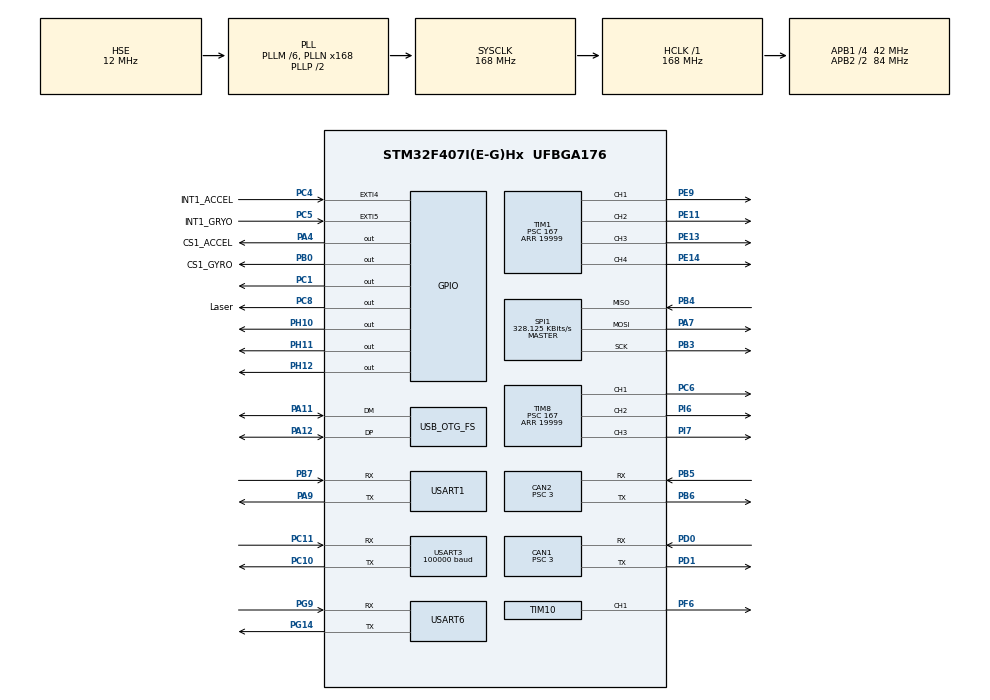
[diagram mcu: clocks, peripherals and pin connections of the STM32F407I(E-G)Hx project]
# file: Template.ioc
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CAN1.BS1=CAN_BS1_10TQ
CAN1.BS2=CAN_BS2_3TQ
CAN1.CalculateBaudRate=1000000
CAN1.CalculateTimeBit=1000
CAN1.CalculateTimeQuantum=71.42857142857143
CAN1.Prescaler=3
CAN2.BS1=CAN_BS1_10TQ
CAN2.BS2=CAN_BS2_3TQ
CAN2.CalculateBaudRate=1000000
CAN2.CalculateTimeBit=1000
CAN2.CalculateTimeQuantum=71.42857142857143
CAN2.Prescaler=3
Dma.Request0=SPI1_RX
Dma.Request1=SPI1_TX
Dma.Request2=USART6_RX
Dma.Request3=USART6_TX
Dma.Request4=USART3_RX
Dma.Request5=USART1_TX
Dma.Request6=USART1_RX
Dma.SPI1_RX.0.Direction=DMA_PERIPH_TO_MEMORY
Dma.SPI1_RX.0.FIFOMode=DMA_FIFOMODE_DISABLE
Dma.SPI1_RX.0.Instance=DMA2_Stream0
Dma.SPI1_RX.0.MemDataAlignment=DMA_MDATAALIGN_BYTE
Dma.SPI1_RX.0.MemInc=DMA_MINC_ENABLE
Dma.SPI1_RX.0.Mode=DMA_NORMAL
Dma.SPI1_RX.0.PeriphDataAlignment=DMA_PDATAALIGN_BYTE
Dma.SPI1_RX.0.PeriphInc=DMA_PINC_DISABLE
Dma.SPI1_RX.0.Priority=DMA_PRIORITY_VERY_HIGH
Dma.SPI1_TX.1.Direction=DMA_MEMORY_TO_PERIPH
Dma.SPI1_TX.1.FIFOMode=DMA_FIFOMODE_DISABLE
Dma.SPI1_TX.1.Instance=DMA2_Stream3
Dma.SPI1_TX.1.MemDataAlignment=DMA_MDATAALIGN_BYTE
Dma.SPI1_TX.1.MemInc=DMA_MINC_ENABLE
Dma.SPI1_TX.1.Mode=DMA_NORMAL
Dma.SPI1_TX.1.PeriphDataAlignment=DMA_PDATAALIGN_BYTE
Dma.SPI1_TX.1.PeriphInc=DMA_PINC_DISABLE
Dma.SPI1_TX.1.Priority=DMA_PRIORITY_HIGH
Dma.USART1_RX.6.Direction=DMA_PERIPH_TO_MEMORY
Dma.USART1_RX.6.FIFOMode=DMA_FIFOMODE_DISABLE
Dma.USART1_RX.6.Instance=DMA2_Stream2
Dma.USART1_RX.6.MemDataAlignment=DMA_MDATAALIGN_BYTE
Dma.USART1_RX.6.MemInc=DMA_MINC_ENABLE
Dma.USART1_RX.6.Mode=DMA_NORMAL
Dma.USART1_RX.6.PeriphDataAlignment=DMA_PDATAALIGN_BYTE
Dma.USART1_RX.6.PeriphInc=DMA_PINC_DISABLE
Dma.USART1_RX.6.Priority=DMA_PRIORITY_HIGH
Dma.USART1_TX.5.Direction=DMA_MEMORY_TO_PERIPH
Dma.USART1_TX.5.FIFOMode=DMA_FIFOMODE_DISABLE
Dma.USART1_TX.5.Instance=DMA2_Stream7
Dma.USART1_TX.5.MemDataAlignment=DMA_MDATAALIGN_BYTE
Dma.USART1_TX.5.MemInc=DMA_MINC_ENABLE
Dma.USART1_TX.5.Mode=DMA_NORMAL
Dma.USART1_TX.5.PeriphDataAlignment=DMA_PDATAALIGN_BYTE
Dma.USART1_TX.5.PeriphInc=DMA_PINC_DISABLE
Dma.USART1_TX.5.Priority=DMA_PRIORITY_HIGH
Dma.USART3_RX.4.Direction=DMA_PERIPH_TO_MEMORY
Dma.USART3_RX.4.FIFOMode=DMA_FIFOMODE_DISABLE
Dma.USART3_RX.4.Instance=DMA1_Stream1
Dma.USART3_RX.4.MemDataAlignment=DMA_MDATAALIGN_BYTE
Dma.USART3_RX.4.MemInc=DMA_MINC_ENABLE
Dma.USART3_RX.4.Mode=DMA_NORMAL
Dma.USART3_RX.4.PeriphDataAlignment=DMA_PDATAALIGN_BYTE
Dma.USART3_RX.4.PeriphInc=DMA_PINC_DISABLE
Dma.USART3_RX.4.Priority=DMA_PRIORITY_HIGH
Dma.USART6_RX.2.Direction=DMA_PERIPH_TO_MEMORY
Dma.USART6_RX.2.FIFOMode=DMA_FIFOMODE_DISABLE
Dma.USART6_RX.2.Instance=DMA2_Stream1
Dma.USART6_RX.2.MemDataAlignment=DMA_MDATAALIGN_BYTE
Dma.USART6_RX.2.MemInc=DMA_MINC_ENABLE
Dma.USART6_RX.2.Mode=DMA_NORMAL
Dma.USART6_RX.2.PeriphDataAlignment=DMA_PDATAALIGN_BYTE
Dma.USART6_RX.2.PeriphInc=DMA_PINC_DISABLE
Dma.USART6_RX.2.Priority=DMA_PRIORITY_HIGH
Dma.USART6_TX.3.Direction=DMA_MEMORY_TO_PERIPH
Dma.USART6_TX.3.FIFOMode=DMA_FIFOMODE_DISABLE
Dma.USART6_TX.3.Instance=DMA2_Stream6
Dma.USART6_TX.3.MemDataAlignment=DMA_MDATAALIGN_BYTE
Dma.USART6_TX.3.MemInc=DMA_MINC_ENABLE
Dma.USART6_TX.3.Mode=DMA_NORMAL
Dma.USART6_TX.3.PeriphDataAlignment=DMA_PDATAALIGN_BYTE
Dma.USART6_TX.3.PeriphInc=DMA_PINC_DISABLE
Dma.USART6_TX.3.Priority=DMA_PRIORITY_HIGH
FREERTOS.Tasks01=defaultTask,0,128,StartDefaultTask,Default,NULL,Dynamic,NULL,NULL
Mcu.Family=STM32F4
Mcu.Name=STM32F407I(E-G)Hx
Mcu.Package=UFBGA176
NVIC.CAN1_RX0_IRQn=true\:5\:0\:false\:false\:true\:true\:true\:true\:true
NVIC.CAN2_RX0_IRQn=true\:5\:0\:false\:false\:true\:true\:true\:true\:true
NVIC.DMA1_Stream1_IRQn=true\:5\:0\:false\:false\:true\:true\:false\:true\:true
NVIC.DMA2_Stream0_IRQn=true\:5\:0\:false\:false\:false\:true\:false\:true\:true
NVIC.DMA2_Stream1_IRQn=true\:5\:0\:false\:false\:true\:true\:false\:true\:true
NVIC.DMA2_Stream2_IRQn=true\:5\:0\:false\:false\:true\:true\:false\:true\:true
NVIC.DMA2_Stream3_IRQn=true\:5\:0\:false\:false\:true\:true\:false\:true\:true
NVIC.DMA2_Stream6_IRQn=true\:5\:0\:false\:false\:true\:true\:false\:true\:true
NVIC.DMA2_Stream7_IRQn=true\:5\:0\:false\:false\:true\:true\:false\:true\:true
NVIC.EXTI4_IRQn=true\:5\:0\:false\:false\:true\:true\:true\:true\:true
NVIC.EXTI9_5_IRQn=true\:5\:0\:false\:false\:true\:true\:true\:true\:true
NVIC.OTG_FS_IRQn=true\:5\:0\:false\:false\:true\:true\:false\:true\:true
NVIC.PriorityGroup=NVIC_PRIORITYGROUP_4
NVIC.TIM2_IRQn=true\:5\:0\:false\:false\:true\:true\:true\:true\:true
NVIC.TIM3_IRQn=true\:5\:0\:false\:false\:false\:true\:true\:true\:true
NVIC.TIM4_IRQn=true\:5\:0\:false\:false\:false\:true\:true\:true\:true
NVIC.TIM5_IRQn=true\:5\:0\:false\:false\:false\:true\:true\:true\:true
NVIC.TIM6_DAC_IRQn=true\:5\:0\:false\:false\:false\:true\:true\:true\:true
NVIC.TIM7_IRQn=true\:15\:0\:false\:false\:true\:false\:false\:true\:true
NVIC.TimeBase=TIM7_IRQn
NVIC.TimeBaseIP=TIM7
NVIC.USART1_IRQn=true\:5\:0\:false\:false\:false\:true\:true\:true\:true
NVIC.USART3_IRQn=true\:5\:0\:false\:false\:false\:true\:true\:true\:true
NVIC.USART6_IRQn=true\:5\:0\:false\:false\:false\:true\:true\:true\:true
PA11.Mode=Device_Only
PA11.Signal=USB_OTG_FS_DM
PA12.Mode=Device_Only
PA12.Signal=USB_OTG_FS_DP
PA13.Mode=Serial_Wire
PA13.Signal=SYS_JTMS-SWDIO
PA14.Mode=Serial_Wire
PA14.Signal=SYS_JTCK-SWCLK
PA4.GPIO_Label=CS1_ACCEL
PA4.Signal=GPIO_Output
PA7.Mode=Full_Duplex_Master
PA7.Signal=SPI1_MOSI
PA9.Mode=Asynchronous
PA9.Signal=USART1_TX
PB0.GPIO_Label=CS1_GYRO
PB0.Signal=GPIO_Output
PB3.Mode=Full_Duplex_Master
PB3.Signal=SPI1_SCK
PB4.Mode=Full_Duplex_Master
PB4.Signal=SPI1_MISO
PB5.Mode=CAN_Activate
PB5.Signal=CAN2_RX
PB6.Mode=CAN_Activate
PB6.Signal=CAN2_TX
PB7.Mode=Asynchronous
PB7.Signal=USART1_RX
PC1.GPIO_PuPd=GPIO_PULLDOWN
PC1.Signal=GPIO_Output
PC10.Mode=Asynchronous
PC10.Signal=USART3_TX
PC11.Mode=Asynchronous
PC11.Signal=USART3_RX
PC4.GPIO_Label=INT1_ACCEL
PC4.Signal=GPXTI4
PC5.GPIO_Label=INT1_GRYO
PC5.Signal=GPXTI5
PC6.Signal=S_TIM8_CH1
PC8.GPIO_Label=Laser
PC8.Signal=GPIO_Output
PD0.Mode=CAN_Activate
PD0.Signal=CAN1_RX
PD1.Mode=CAN_Activate
PD1.Signal=CAN1_TX
PE11.Signal=S_TIM1_CH2
PE13.Signal=S_TIM1_CH3
PE14.Signal=S_TIM1_CH4
PE9.Signal=S_TIM1_CH1
PF6.Signal=S_TIM10_CH1
PG14.Mode=Asynchronous
PG14.Signal=USART6_TX
PG9.Mode=Asynchronous
PG9.Signal=USART6_RX
PH0-OSC_IN.Mode=HSE-External-Oscillator
PH0-OSC_IN.Signal=RCC_OSC_IN
PH1-OSC_OUT.Mode=HSE-External-Oscillator
PH1-OSC_OUT.Signal=RCC_OSC_OUT
PH10.Signal=GPIO_Output
PH11.Signal=GPIO_Output
PH12.Signal=GPIO_Output
PI6.Signal=S_TIM8_CH2
PI7.Signal=S_TIM8_CH3
ProjectManager.HeapSize=0x2000
ProjectManager.StackSize=0x2000
ProjectManager.TargetToolchain=MDK-ARM V5.32
RCC.48MHZClocksFreq_Value=48000000
RCC.AHBFreq_Value=168000000
RCC.APB1CLKDivider=RCC_HCLK_DIV4
RCC.APB1Freq_Value=42000000
RCC.APB1TimFreq_Value=84000000
RCC.APB2CLKDivider=RCC_HCLK_DIV2
RCC.APB2Freq_Value=84000000
RCC.APB2TimFreq_Value=168000000
RCC.CortexFreq_Value=168000000
RCC.HCLKFreq_Value=168000000
RCC.HSE_VALUE=12000000
RCC.HSI_VALUE=16000000
RCC.LSE_VALUE=32768
RCC.PLLM=6
RCC.PLLN=168
RCC.PLLQ=7
RCC.SYSCLKFreq_VALUE=168000000
RCC.SYSCLKSource=RCC_SYSCLKSOURCE_PLLCLK
RCC.VCOOutputFreq_Value=336000000
SH.S_TIM10_CH1.0=TIM10_CH1,PWM Generation1 CH1
SH.S_TIM1_CH1.0=TIM1_CH1,PWM Generation1 CH1
SH.S_TIM1_CH2.0=TIM1_CH2,PWM Generation2 CH2
SH.S_TIM1_CH3.0=TIM1_CH3,PWM Generation3 CH3
SH.S_TIM1_CH4.0=TIM1_CH4,PWM Generation4 CH4
SH.S_TIM8_CH1.0=TIM8_CH1,PWM Generation1 CH1
SH.S_TIM8_CH2.0=TIM8_CH2,PWM Generation2 CH2
SH.S_TIM8_CH3.0=TIM8_CH3,PWM Generation3 CH3
SPI1.BaudRatePrescaler=SPI_BAUDRATEPRESCALER_256
SPI1.CLKPhase=SPI_PHASE_2EDGE
SPI1.CLKPolarity=SPI_POLARITY_HIGH
SPI1.CalculateBaudRate=328.125 KBits/s
SPI1.Direction=SPI_DIRECTION_2LINES
SPI1.Mode=SPI_MODE_MASTER
SPI1.VirtualType=VM_MASTER
TIM1.Channel-PWM\ Generation1\ CH1=TIM_CHANNEL_1
TIM1.Channel-PWM\ Generation2\ CH2=TIM_CHANNEL_2
TIM1.Channel-PWM\ Generation3\ CH3=TIM_CHANNEL_3
TIM1.Channel-PWM\ Generation4\ CH4=TIM_CHANNEL_4
TIM1.Period=19999
TIM1.Prescaler=167
TIM1.Pulse-PWM\ Generation1\ CH1=1000
TIM1.Pulse-PWM\ Generation2\ CH2=1000
TIM1.Pulse-PWM\ Generation3\ CH3=1000
TIM1.Pulse-PWM\ Generation4\ CH4=1000
TIM10.Channel=TIM_CHANNEL_1
TIM10.Period=4999
TIM2.Period=200-1
TIM2.Prescaler=84-1
TIM3.Period=999
TIM3.Prescaler=83
TIM4.Period=1999
TIM4.Prescaler=83
TIM5.Period=999
TIM5.Prescaler=83
TIM6.Period=9999
TIM6.Prescaler=83
TIM8.Channel-PWM\ Generation1\ CH1=TIM_CHANNEL_1
TIM8.Channel-PWM\ Generation2\ CH2=TIM_CHANNEL_2
TIM8.Channel-PWM\ Generation3\ CH3=TIM_CHANNEL_3
TIM8.Period=19999
TIM8.Prescaler=167
TIM8.Pulse-PWM\ Generation1\ CH1=1000
TIM8.Pulse-PWM\ Generation2\ CH2=1000
TIM8.Pulse-PWM\ Generation3\ CH3=1000
USART1.VirtualMode=VM_ASYNC
USART3.BaudRate=100000
USART3.Parity=PARITY_EVEN
USART3.VirtualMode=VM_ASYNC
USART6.VirtualMode=VM_ASYNC
USB_DEVICE.CLASS_NAME_FS=CDC
USB_DEVICE.VirtualMode-CDC_FS=Cdc
USB_DEVICE.VirtualModeFS=Cdc_FS
USB_OTG_FS.VirtualMode=Device_Only
VP_FREERTOS_VS_CMSIS_V1.Mode=CMSIS_V1
VP_SYS_VS_tim7.Mode=TIM7
VP_TIM10_VS_ClockSourceINT.Mode=Enable_Timer
VP_TIM1_VS_ClockSourceINT.Mode=Internal
VP_TIM2_VS_ClockSourceINT.Mode=Internal
VP_TIM3_VS_ClockSourceINT.Mode=Internal
VP_TIM4_VS_ClockSourceINT.Mode=Internal
VP_TIM5_VS_ClockSourceINT.Mode=Internal
VP_TIM6_VS_ClockSourceINT.Mode=Enable_Timer
VP_TIM8_VS_ClockSourceINT.Mode=Internal
VP_USB_DEVICE_VS_USB_DEVICE_CDC_FS.Mode=CDC_FS
board=custom

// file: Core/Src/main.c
/* USER CODE BEGIN Header */
/**
  ******************************************************************************
  * @file           : main.c
  * @brief          : Main program body
  ******************************************************************************
  * @attention
  *
  * Copyright (c) 2021 STMicroelectronics.
  * All rights reserved.
  *
  * This software is licensed under terms that can be found in the LICENSE file
  * in the root directory of this software component.
  * If no LICENSE file comes with this software, it is provided AS-IS.
  *
  ******************************************************************************
  */
/* USER CODE END Header */
#include "main.h"
#include "cmsis_os.h"
#include "can.h"
#include "dma.h"
#include "spi.h"
#include "tim.h"
#include "usart.h"
#include "usb_device.h"
#include "gpio.h"

/* USER CODE BEGIN Includes */
#include "bsp_delay.h"
#include "bsp_can.h"
#include "bsp_usart.h"
#include "bsp_rc.h"
#include "Remote.h"
/* USER CODE END Includes */

void SystemClock_Config(void);
void MX_FREERTOS_Init(void);

int main(void){

  /* MCU Configuration--------------------------------------------------------*/

  /* Reset of all peripherals, Initializes the Flash interface and the Systick. */
  HAL_Init();

  /* Configure the system clock */
  SystemClock_Config();

  /* Initialize all configured peripherals */
  MX_GPIO_Init();
  MX_DMA_Init();
  MX_CAN1_Init();
  MX_SPI1_Init();
  MX_TIM5_Init();
  MX_TIM10_Init();
  MX_CAN2_Init();
  MX_USART1_UART_Init();
  MX_USART3_UART_Init();
  MX_USART6_UART_Init();
  MX_TIM3_Init();
  MX_TIM4_Init();
  MX_TIM1_Init();
  MX_TIM8_Init();
  MX_TIM6_Init();
  MX_TIM2_Init();
  /* USER CODE BEGIN 2 */
  delay_init();
  remote_control_init();
  can_filter_init();

	RC_init1(sbus_rx_buf1[0], sbus_rx_buf1[1], JOINT_RX_BUF_NUM);
	//RC_init6(sbus_rx_buf6[0], sbus_rx_buf6[1], JOINT_RX_BUF_NUM);
	usart1_tx_dma_init();//usart6_tx_dma_init();

  HAL_TIM_Base_Start_IT(&htim2);
  HAL_TIM_Base_Start_IT(&htim3);
  HAL_Delay(1);
  HAL_TIM_Base_Start_IT(&htim4);
  HAL_Delay(1);
  HAL_TIM_Base_Start_IT(&htim6);

  HAL_TIM_PWM_Start(&htim10, TIM_CHANNEL_1);

  HAL_TIM_PWM_Start(&htim1, TIM_CHANNEL_1);

  //HAL_TIM_PWM_Start(&htim3, TIM_CHANNEL_3);

  HAL_GPIO_WritePin(LED_R_GPIO_Port, LED_R_Pin, GPIO_PIN_RESET);
  HAL_GPIO_WritePin(LED_G_GPIO_Port, LED_G_Pin, GPIO_PIN_RESET);
  HAL_GPIO_WritePin(LED_B_GPIO_Port, LED_B_Pin, GPIO_PIN_RESET);
  HAL_GPIO_WritePin(Laser_GPIO_Port, Laser_Pin, GPIO_PIN_SET);
  /* USER CODE END 2 */

  /* Call init function for freertos objects (in freertos.c) */
  MX_FREERTOS_Init();

  /* Start scheduler */
  osKernelStart();

  /* We should never get here as control is now taken by the scheduler */
  /* Infinite loop */
  while (1)
  {

  }
}

void SystemClock_Config(void)
{
  RCC_OscInitTypeDef RCC_OscInitStruct = {0};
  RCC_ClkInitTypeDef RCC_ClkInitStruct = {0};

  /** Configure the main internal regulator output voltage
  */
  __HAL_RCC_PWR_CLK_ENABLE();
  __HAL_PWR_VOLTAGESCALING_CONFIG(PWR_REGULATOR_VOLTAGE_SCALE1);

  /** Initializes the RCC Oscillators according to the specified parameters
  * in the RCC_OscInitTypeDef structure.
  */
  RCC_OscInitStruct.OscillatorType = RCC_OSCILLATORTYPE_HSE;
  RCC_OscInitStruct.HSEState = RCC_HSE_ON;
  RCC_OscInitStruct.PLL.PLLState = RCC_PLL_ON;
  RCC_OscInitStruct.PLL.PLLSource = RCC_PLLSOURCE_HSE;
  RCC_OscInitStruct.PLL.PLLM = 6;
  RCC_OscInitStruct.PLL.PLLN = 168;
  RCC_OscInitStruct.PLL.PLLP = RCC_PLLP_DIV2;
  RCC_OscInitStruct.PLL.PLLQ = 7;
  if (HAL_RCC_OscConfig(&RCC_OscInitStruct) != HAL_OK)
  {
    Error_Handler();
  }

  /** Initializes the CPU, AHB and APB buses clocks
  */
  RCC_ClkInitStruct.ClockType = RCC_CLOCKTYPE_HCLK|RCC_CLOCKTYPE_SYSCLK
                              |RCC_CLOCKTYPE_PCLK1|RCC_CLOCKTYPE_PCLK2;
  RCC_ClkInitStruct.SYSCLKSource = RCC_SYSCLKSOURCE_PLLCLK;
  RCC_ClkInitStruct.AHBCLKDivider = RCC_SYSCLK_DIV1;
  RCC_ClkInitStruct.APB1CLKDivider = RCC_HCLK_DIV4;
  RCC_ClkInitStruct.APB2CLKDivider = RCC_HCLK_DIV2;

  if (HAL_RCC_ClockConfig(&RCC_ClkInitStruct, FLASH_LATENCY_5) != HAL_OK)
  {
    Error_Handler();
  }
}

void HAL_TIM_PeriodElapsedCallback(TIM_HandleTypeDef *htim)
{
  if (htim->Instance == TIM7) {
    HAL_IncTick();
  }
}

void Error_Handler(void)
{
  __disable_irq();
  while (1)
  {
  }
}

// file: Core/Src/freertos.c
/* USER CODE BEGIN Header */
/**
  ******************************************************************************
  * File Name          : freertos.c
  * Description        : Code for freertos applications
  ******************************************************************************
  * @attention
  *
  * Copyright (c) 2021 STMicroelectronics.
  * All rights reserved.
  *
  * This software is licensed under terms that can be found in the LICENSE file
  * in the root directory of this software component.
  * If no LICENSE file comes with this software, it is provided AS-IS.
  *
  ******************************************************************************
  */
/* USER CODE END Header */

#include "FreeRTOS.h"
#include "task.h"
#include "main.h"
#include "cmsis_os.h"

/* USER CODE BEGIN Includes */
#include "AttitudeThread.h"
#include "CalculateThread.h"
#include "DebugThread.h"
#include "RefereeTask.h"
/* USER CODE END Includes */

/* USER CODE BEGIN PTD */

osThreadId CalcThreadHandler;
osThreadId AttudThreadHandler;
osThreadId DebugThreadHandle;
osThreadId RefereeThreadHandle;
/* USER CODE END PTD */

osThreadId defaultTaskHandle;

void StartDefaultTask(void const * argument);

extern void MX_USB_DEVICE_Init(void);
void MX_FREERTOS_Init(void); /* (MISRA C 2004 rule 8.1) */

/* GetIdleTaskMemory prototype (linked to static allocation support) */
void vApplicationGetIdleTaskMemory( StaticTask_t **ppxIdleTaskTCBBuffer, StackType_t **ppxIdleTaskStackBuffer, uint32_t *pulIdleTaskStackSize );

/* USER CODE BEGIN GET_IDLE_TASK_MEMORY */
static StaticTask_t xIdleTaskTCBBuffer;
static StackType_t xIdleStack[configMINIMAL_STACK_SIZE];

void vApplicationGetIdleTaskMemory( StaticTask_t **ppxIdleTaskTCBBuffer, StackType_t **ppxIdleTaskStackBuffer, uint32_t *pulIdleTaskStackSize )
{
  *ppxIdleTaskTCBBuffer = &xIdleTaskTCBBuffer;
  *ppxIdleTaskStackBuffer = &xIdleStack[0];
  *pulIdleTaskStackSize = configMINIMAL_STACK_SIZE;
  /* place for user code */
}
/* USER CODE END GET_IDLE_TASK_MEMORY */

void MX_FREERTOS_Init(void) {

  /* Create the thread(s) */
  /* definition and creation of defaultTask */
  osThreadDef(defaultTask, StartDefaultTask, osPriorityNormal, 0, 128);
  defaultTaskHandle = osThreadCreate(osThread(defaultTask), NULL);

  /* USER CODE BEGIN RTOS_THREADS */
  /* add threads, ... */

  /* definition and creation of Attitude */
  osThreadDef(Attitude, AttitudeThread, osPriorityRealtime, 0, 1024);
  AttudThreadHandler = osThreadCreate(osThread(Attitude), NULL);

  /* definition and creation of Calculate */
  osThreadDef(Calculate, CalculateThread, osPriorityHigh, 0, 1024);
  CalcThreadHandler = osThreadCreate(osThread(Calculate), NULL);

  osThreadDef(Referee, RefereeTask, osPriorityHigh, 0, 1024);
  RefereeThreadHandle = osThreadCreate(osThread(Referee), NULL);

  /* definition and creation of Debug */
  osThreadDef(Debug, DebugThread, osPriorityNormal, 0, 512);
  DebugThreadHandle = osThreadCreate(osThread(Debug), NULL);

  /* USER CODE END RTOS_THREADS */

}

void StartDefaultTask(void const * argument)
{
  /* init code for USB_DEVICE */
  MX_USB_DEVICE_Init();
  for(;;)
  {
    osDelay(1);
  }
}
